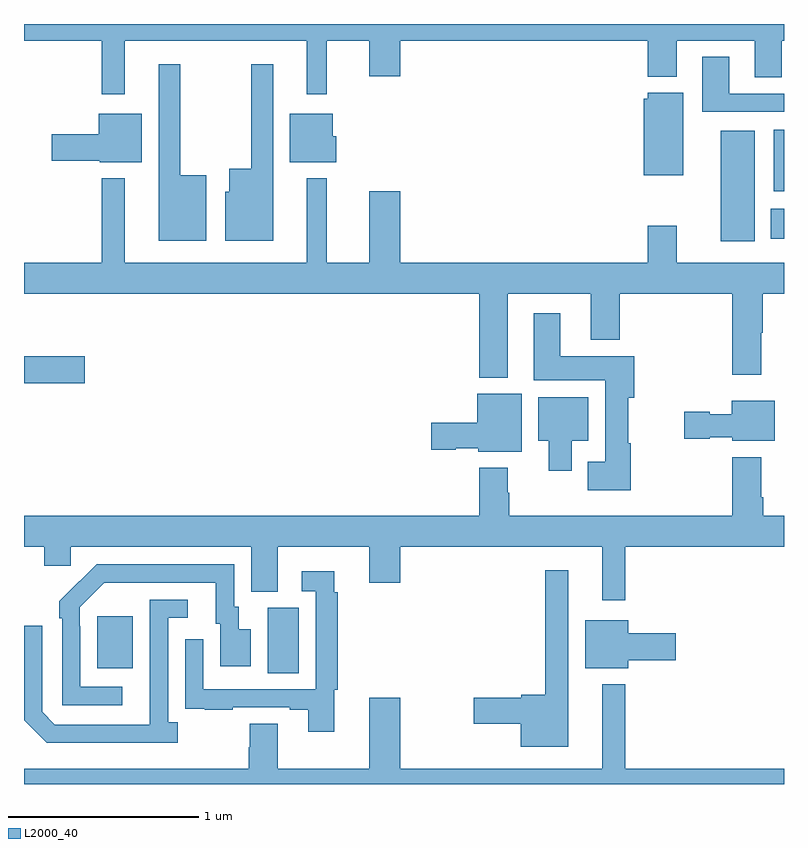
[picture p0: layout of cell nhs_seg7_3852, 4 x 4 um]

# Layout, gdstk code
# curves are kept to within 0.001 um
import gdstk
lib = gdstk.Library(unit=1e-6, precision=1e-09)
def R(c, l, rs):  # rectangles x0, y0, x1, y1
    for r in rs: c.add(gdstk.rectangle(r[:2], r[2:], *l))
def P(c, l, *ps):  # polygons
    for p in ps: c.add(gdstk.Polygon(p, *l))
L2000_40 = (2000, 40)

nhs_seg7_3852 = lib.new_cell('nhs_seg7_3852')
R(nhs_seg7_3852, L2000_40, [(356.282,1034.584,356.446,1034.928), (355.385,1034.609,355.573,1034.884), (355,1036.109,355.321,1036.251), (358.667,1036.856,358.846,1037.437), (358.931,1036.869,359,1037.028), (358.946,1037.12,359,1037.443)])
P(nhs_seg7_3852, L2000_40, [(355.531,1037.912),(356.489,1037.912),(356.489,1037.631),(356.593,1037.631),(356.593,1037.912),(356.816,1037.912),(356.816,1037.724),(356.98,1037.724),(356.98,1037.912),(358.283,1037.912),(358.283,1037.723),(358.435,1037.723),(358.435,1037.912),(358.847,1037.912),(358.847,1037.719),(358.987,1037.719),(358.987,1037.912),(359,1037.912),(359,1038),(355,1038),(355,1037.912),(355.41,1037.912),(355.41,1037.631),(355.531,1037.631)],
  [(359,1037.634),(358.711,1037.634),(358.711,1037.827),(358.571,1037.827),(358.571,1037.538),(359,1037.538)],
  [(356.311,1037.788),(356.197,1037.788),(356.197,1037.239),(356.081,1037.239),(356.081,1037.118),(356.06,1037.118),(356.06,1036.859),(356.311,1036.859)],
  [(355.96,1037.203),(355.823,1037.203),(355.823,1037.788),(355.709,1037.788),(355.709,1036.859),(355.96,1036.859)],
  [(358.471,1037.638),(358.284,1037.638),(358.284,1037.607),(358.262,1037.607),(358.262,1037.204),(358.471,1037.204)],
  [(356.644,1037.409),(356.626,1037.409),(356.626,1037.527),(356.399,1037.527),(356.399,1037.273),(356.644,1037.273)],
  [(355.621,1037.527),(355.394,1037.527),(355.394,1037.421),(355.146,1037.421),(355.146,1037.279),(355.398,1037.279),(355.398,1037.273),(355.621,1037.273)],
  [(357.547,1036.58),(357.983,1036.58),(357.983,1036.337),(358.136,1036.337),(358.136,1036.58),(358.727,1036.58),(358.727,1036.155),(358.879,1036.155),(358.879,1036.376),(358.887,1036.376),(358.887,1036.58),(359,1036.58),(359,1036.744),(358.435,1036.744),(358.435,1036.939),(358.283,1036.939),(358.283,1036.744),(356.98,1036.744),(356.98,1037.119),(356.816,1037.119),(356.816,1036.744),(356.593,1036.744),(356.593,1037.188),(356.489,1037.188),(356.489,1036.744),(355.531,1036.744),(355.531,1037.188),(355.41,1037.188),(355.41,1036.744),(355,1036.744),(355,1036.58),(357.395,1036.58),(357.395,1036.139),(357.547,1036.139)],
  [(358.193,1035.793),(358.18,1035.793),(358.18,1036.034),(358.211,1036.034),(358.211,1036.252),(357.823,1036.252),(357.823,1036.477),(357.683,1036.477),(357.683,1036.124),(358.058,1036.124),(358.058,1035.697),(357.968,1035.697),(357.968,1035.545),(358.193,1035.545)],
  [(357.619,1036.054),(357.386,1036.054),(357.386,1035.902),(357.144,1035.902),(357.144,1035.76),(357.273,1035.76),(357.273,1035.767),(357.39,1035.767),(357.39,1035.749),(357.619,1035.749)],
  [(357.883,1035.806),(357.97,1035.806),(357.97,1036.036),(357.707,1036.036),(357.707,1035.806),(357.761,1035.806),(357.761,1035.648),(357.883,1035.648)],
  [(358.951,1036.018),(358.724,1036.018),(358.724,1035.946),(358.608,1035.946),(358.608,1035.959),(358.476,1035.959),(358.476,1035.817),(358.608,1035.817),(358.608,1035.824),(358.728,1035.824),(358.728,1035.806),(358.951,1035.806)],
  [(358.165,1035.248),(359,1035.248),(359,1035.412),(358.892,1035.412),(358.892,1035.508),(358.879,1035.508),(358.879,1035.721),(358.727,1035.721),(358.727,1035.412),(357.555,1035.412),(357.555,1035.533),(357.547,1035.533),(357.547,1035.664),(357.395,1035.664),(357.395,1035.412),(355,1035.412),(355,1035.248),(355.106,1035.248),(355.106,1035.15),(355.245,1035.15),(355.245,1035.248),(356.195,1035.248),(356.195,1035.013),(356.335,1035.013),(356.335,1035.248),(356.816,1035.248),(356.816,1035.06),(356.98,1035.06),(356.98,1035.248),(358.043,1035.248),(358.043,1034.967),(358.165,1034.967)],
  [(355.516,1034.511),(355.296,1034.511),(355.296,1034.831),(355.293,1034.831),(355.293,1034.931),(355.422,1035.06),(356.009,1035.06),(356.009,1034.844),(356.033,1034.844),(356.033,1034.619),(356.194,1034.619),(356.194,1034.815),(356.131,1034.815),(356.131,1034.934),(356.106,1034.934),(356.106,1035.156),(355.382,1035.156),(355.185,1034.961),(355.185,1034.873),(355.2,1034.873),(355.2,1034.415),(355.516,1034.415)],
  [(357.865,1035.124),(357.744,1035.124),(357.744,1034.471),(357.618,1034.471),(357.618,1034.453),(357.366,1034.453),(357.366,1034.318),(357.614,1034.318),(357.614,1034.195),(357.865,1034.195)],
  [(356.633,1034.496),(356.651,1034.496),(356.651,1035.008),(356.633,1035.008),(356.633,1035.121),(356.463,1035.121),(356.463,1035.015),(356.535,1035.015),(356.535,1034.499),(355.944,1034.499),(355.944,1034.761),(355.848,1034.761),(355.848,1034.506),(355.849,1034.506),(355.849,1034.397),(355.951,1034.397),(355.951,1034.391),(356.099,1034.391),(356.099,1034.403),(356.399,1034.403),(356.399,1034.391),(356.495,1034.391),(356.495,1034.274),(356.633,1034.274)],
  [(355.81,1034.326),(355.758,1034.326),(355.758,1034.874),(355.861,1034.874),(355.861,1034.97),(355.662,1034.97),(355.661,1034.313),(355.161,1034.313),(355.095,1034.379),(355.095,1034.833),(355,1034.833),(355,1034.336),(355.12,1034.216),(355.81,1034.216)],
  [(358.18,1034.651),(358.429,1034.651),(358.429,1034.793),(358.18,1034.793),(358.18,1034.863),(357.953,1034.863),(357.953,1034.609),(358.18,1034.609)],
  [(359,1034.08),(358.165,1034.08),(358.165,1034.524),(358.043,1034.524),(358.043,1034.08),(356.98,1034.08),(356.98,1034.455),(356.816,1034.455),(356.816,1034.08),(356.335,1034.08),(356.335,1034.318),(356.188,1034.318),(356.188,1034.193),(356.183,1034.193),(356.183,1034.08),(355,1034.08),(355,1034),(359,1034)])

lib.write_gds('nhs_seg7_3852.gds')
